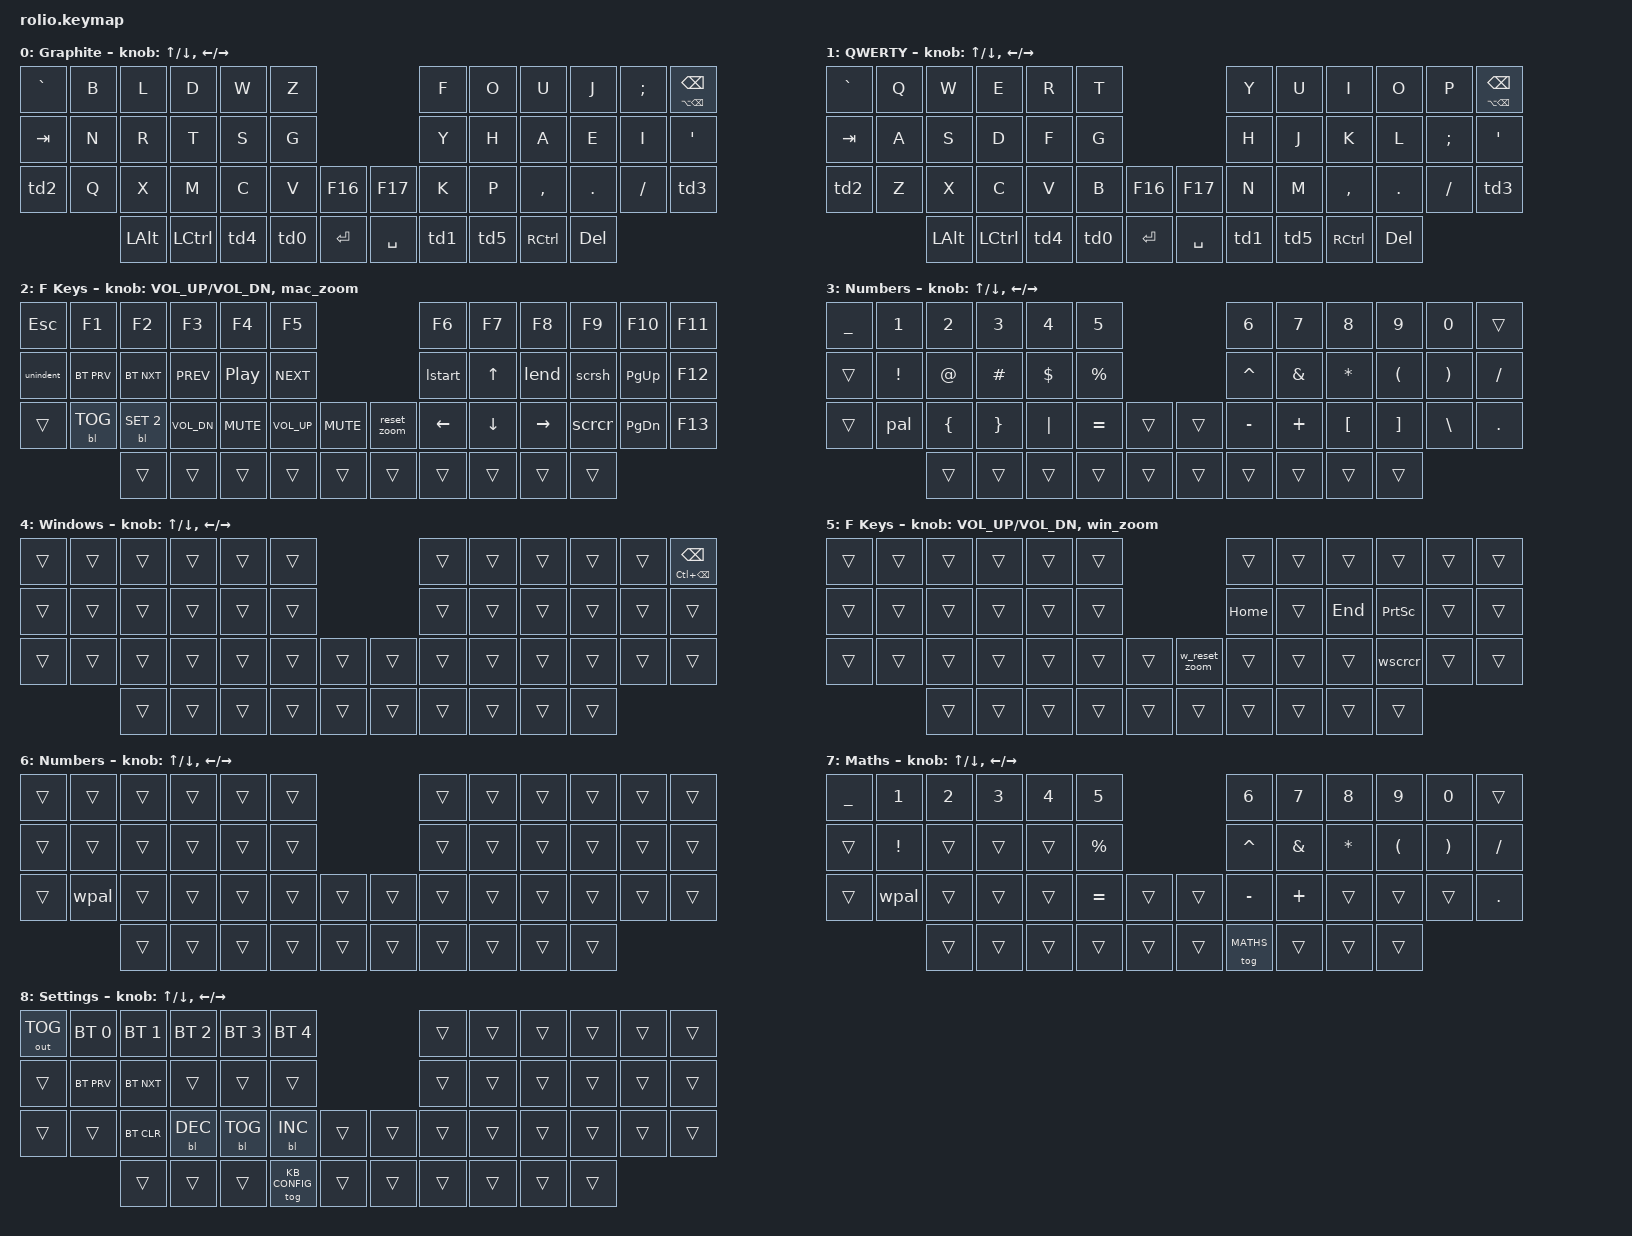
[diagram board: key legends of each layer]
/*
 * Copyright (c) 2020 The ZMK Contributors
 *
 * SPDX-License-Identifier: MIT
 */

#include <behaviors.dtsi>
#include <dt-bindings/zmk/keys.h>
#include <dt-bindings/zmk/bt.h>
#include <dt-bindings/zmk/outputs.h>
#include <dt-bindings/zmk/backlight.h>


#define GRAPHITE  0
#define MACOS     1
#define FKEYS     2
#define NUMBERS   3
#define WINDOWS   4
#define W_FKEYS   5
#define W_NUMBERS 6
#define MATHS     7
#define KB_CONFIG 8


/ {

    conditional_layers {
        compatible = "zmk,conditional-layers";
        win_fkeys {
            if-layers = <WINDOWS FKEYS>;
            then-layer = <W_FKEYS>;
        };
        win_numbers {
            if-layers = <WINDOWS NUMBERS>;
            then-layer = <W_NUMBERS>;
        };
    };


    behaviors {
        // Toggle F-Keys Layer
        td0: tap_dance_0 {
            compatible = "zmk,behavior-tap-dance";
            label = "TAP_DANCE_0";
            #binding-cells = <0>;
            tapping-term-ms = <300>;
            bindings = <&mo FKEYS>, <&tog FKEYS>, <&tog KB_CONFIG>;
        };
        // Toggle Numbers layer
        td1: tap_dance_1 {
            compatible = "zmk,behavior-tap-dance";
            label = "TAP_DANCE_1";
            #binding-cells = <0>;
            tapping-term-ms = <300>;
            bindings = <&mo NUMBERS>, <&tog MATHS>, <&tog NUMBERS>;
        };
        // Toggle capsword left
        td2: tap_dance_2 {
            compatible = "zmk,behavior-tap-dance";
            label = "TAP_DANCE_2";
            #binding-cells = <0>;
            tapping-term-ms = <200>;
            bindings = <&kp LSHFT>, <&caps_word>;
        };
        // Toggle capsword right
        td3: tap_dance_3 {
            compatible = "zmk,behavior-tap-dance";
            label = "TAP_DANCE_3";
            #binding-cells = <0>;
            tapping-term-ms = <200>;
            bindings = <&kp RSHFT>, <&caps_word>;
        };
        // Toggle Windows/QWERTY layer left
        td4: tap_dance_4 {
            compatible = "zmk,behavior-tap-dance";
            label = "TAP_DANCE_4";
            #binding-cells = <0>;
            tapping-term-ms = <200>;
            bindings = <&kp LGUI>, <&tog WINDOWS>, <&tog MACOS>;
        };
        // Toggle Windows/QWERTY layer right
        td5: tap_dance_5 {
            compatible = "zmk,behavior-tap-dance";
            label = "TAP_DANCE_5";
            #binding-cells = <0>;
            tapping-term-ms = <200>;
            bindings = <&kp RGUI>, <&tog WINDOWS>, <&tog MACOS>;
        };
        // Tap = char delete, Hold = word delete (OS auto-repeats)
        // require-prior-idle-ms: if typing recently, always taps instantly
        // quick-tap-ms: rapid backspace mashing always deletes chars
        backspace_word: backspace_word {
            compatible = "zmk,behavior-hold-tap";
            label = "BACKSPACE_WORD";
            #binding-cells = <2>;
            tapping-term-ms = <280>;
            quick-tap-ms = <175>;
            require-prior-idle-ms = <150>;
            flavor = "tap-preferred";
            bindings = <&kp>, <&kp>;
        };
        //Mac OS Zoom
        mac_zoom: mac_zoom {
            compatible = "zmk,behavior-sensor-rotate";
            label = "MAC_ZOOM";
            #sensor-binding-cells = <0>;
            bindings = <&zoom_in>, <&zoom_out>;
        };
        //Windows OS Zoom
        win_zoom: win_zoom {
            compatible = "zmk,behavior-sensor-rotate";
            label = "WINDOWS_ZOOM";
            #sensor-binding-cells = <0>;
            bindings = <&w_zoom_in>, <&w_zoom_out>;
        };
    };


    macros {
        unindent: unindent {
            label = "UNINDENT";
            compatible = "zmk,behavior-macro";
            #binding-cells = <0>;
            bindings
                = <&macro_press &kp LSHIFT>
                , <&macro_tap &kp TAB>
                , <&macro_release &kp LSHIFT>
                ;
        };
        lstart: lstart {
            label = "Line_Start";
            compatible = "zmk,behavior-macro";
            #binding-cells = <0>;
            bindings
                = <&macro_press &kp LGUI>
                , <&macro_tap &kp LEFT>
                , <&macro_release &kp LGUI>
                ;
        };
        lend: lend {
            label = "Line_End";
            compatible = "zmk,behavior-macro";
            #binding-cells = <0>;
            bindings
                = <&macro_press &kp LGUI>
                , <&macro_tap &kp RIGHT>
                , <&macro_release &kp LGUI>
                ;
        };
        scrsh: scrsh {
            label = "Screenshot";
            compatible = "zmk,behavior-macro";
            #binding-cells = <0>;
            bindings
                = <&macro_press &kp LGUI>
                , <&macro_press &kp LSHIFT>
                , <&macro_tap &kp N3>
                , <&macro_release &kp LSHFT>
                , <&macro_release &kp LGUI>
                ;
        };
        scrcr: scrcr {
            label = "Screen_Crop";
            compatible = "zmk,behavior-macro";
            #binding-cells = <0>;
            bindings
                = <&macro_press &kp LGUI>
                , <&macro_press &kp LSHIFT>
                , <&macro_tap &kp N4>
                , <&macro_release &kp LSHFT>
                , <&macro_release &kp LGUI>
                ;
        };
        wscrcr: wscrcr {
            label = "Windows_Screen_Crop";
            compatible = "zmk,behavior-macro";
            #binding-cells = <0>;
            bindings
                = <&macro_press &kp LGUI>
                , <&macro_press &kp LSHIFT>
                , <&macro_tap &kp S>
                , <&macro_release &kp LSHFT>
                , <&macro_release &kp LGUI>
                ;
        };
        pal: pal {
            label = "Pallette";
            compatible = "zmk,behavior-macro";
            #binding-cells = <0>;
            bindings
                = <&macro_press &kp LGUI>
                , <&macro_press &kp LCTRL>
                , <&macro_tap &kp SPACE>
                , <&macro_release &kp LCTRL>
                , <&macro_release &kp LGUI>
                ;
        };
        wpal: wpal {
            label = "W_Pallette";
            compatible = "zmk,behavior-macro";
            #binding-cells = <0>;
            bindings
                = <&macro_press &kp LGUI>
                , <&macro_tap &kp DOT>
                , <&macro_release &kp LGUI>
                ;
        };

        // Zoom macros
        zoom_in: zoom_in {
            label = "ZOOM_IN";
            compatible = "zmk,behavior-macro";
            #binding-cells = <0>;
            bindings
                = <&macro_press &kp LGUI>
                , <&macro_tap &kp EQUAL>
                , <&macro_release &kp LGUI>
                ;
        };
        zoom_out: zoom_out {
            label = "ZOOM_OUT";
            compatible = "zmk,behavior-macro";
            #binding-cells = <0>;
            bindings
                = <&macro_press &kp LGUI>
                , <&macro_tap &kp MINUS>
                , <&macro_release &kp LGUI>
                ;
        };
        reset_zoom: reset_zoom {
            label = "RESET_ZOOM";
            compatible = "zmk,behavior-macro";
            #binding-cells = <0>;
            bindings
                = <&macro_press &kp LGUI>
                , <&macro_tap &kp N0>
                , <&macro_release &kp LGUI>
                ;
        };
        w_zoom_in: w_zoom_in {
            label = "WINDOWS_ZOOM_IN";
            compatible = "zmk,behavior-macro";
            #binding-cells = <0>;
            bindings
                = <&macro_press &kp LCTRL>
                , <&macro_tap &kp EQUAL>
                , <&macro_release &kp LCTRL>
                ;
        };
        w_zoom_out: w_zoom_out {
            label = "WINDOWS_ZOOM_OUT";
            compatible = "zmk,behavior-macro";
            #binding-cells = <0>;
            bindings
                = <&macro_press &kp LCTRL>
                , <&macro_tap &kp MINUS>
                , <&macro_release &kp LCTRL>
                ;
        };
        w_reset_zoom: w_reset_zoom {
            label = "WINDOWS_RESET_ZOOM";
            compatible = "zmk,behavior-macro";
            #binding-cells = <0>;
            bindings
                = <&macro_press &kp LCTRL>
                , <&macro_tap &kp N0>
                , <&macro_release &kp LCTRL>
                ;
        };

    };


    keymap {
        compatible = "zmk,keymap";

        default_layer {
            label = "Graphite";
            sensor-bindings = <&inc_dec_kp UP DOWN &inc_dec_kp LEFT RIGHT>;
            bindings = <
//---------------------------------------------------------------+                            +---------------------------------------------------------------//
//          |         |          |           |          |        |                            |       |       |           |         |          |           // 
  &kp GRAVE   &kp B     &kp L      &kp D        &kp W     &kp Z                                 &kp F   &kp O     &kp U      &kp J   &kp SEMI   &backspace_word LA(BSPC) BSPC
//          |         |          |           |          |        |                            |       |       |           |         |          |           //
  &kp TAB     &kp N     &kp R      &kp T        &kp S     &kp G                                 &kp Y   &kp H     &kp A      &kp E     &kp I     &kp SQT
//          |         |          |           |          |        +-----------+    +-----------|       |       |           |         |          |           //
    &td2      &kp Q     &kp X      &kp M        &kp C     &kp V     &kp F16          &kp F17    &kp K   &kp P   &kp COMMA   &kp DOT   &kp FSLH     &td3
//--------------------|          |           |          |        |           |    |           |       |       |           |--------------------------------//  
                        &kp LALT   &kp LCTRL     &td4     &td0     &kp ENTER        &kp SPACE   &td1    &td5    &kp RCTRL   &kp DEL
//                    +----------|-----------|----------|--------------------+    +-----------|-------|--------|-----------|---------+                      //
            >;
        };

        qwerty_layer {
            label = "QWERTY";
            sensor-bindings = <&inc_dec_kp UP DOWN &inc_dec_kp LEFT RIGHT>;
            bindings = <
//---------------------------------------------------------------+                            +---------------------------------------------------------------//
//          |         |          |           |          |        |                            |       |       |           |         |          |           // 
  &kp GRAVE   &kp Q     &kp W      &kp E        &kp R     &kp T                                 &kp Y   &kp U     &kp I      &kp O     &kp P     &backspace_word LA(BSPC) BSPC
//          |         |          |           |          |        |                            |       |       |           |         |          |           //
  &kp TAB     &kp A     &kp S      &kp D        &kp F     &kp G                                 &kp H   &kp J     &kp K      &kp L    &kp SEMI    &kp SQT
//          |         |          |           |          |        +-----------+    +-----------|       |       |           |         |          |           //
    &td2      &kp Z     &kp X      &kp C        &kp V     &kp B     &kp F16          &kp F17    &kp N   &kp M   &kp COMMA   &kp DOT    &kp FSLH     &td3
//--------------------|          |           |          |        |           |    |           |       |       |           |--------------------------------//  
                        &kp LALT   &kp LCTRL     &td4     &td0     &kp ENTER        &kp SPACE   &td1    &td5    &kp RCTRL   &kp DEL
//                    +----------|-----------|----------|--------------------+    +-----------|-------|--------|-----------|---------+                      //
            >;
        };

        f_keys_layer {
            label = "F Keys";
            sensor-bindings = <&inc_dec_kp C_VOL_UP C_VOL_DN &mac_zoom>;
            bindings = <
//-------------------------------------------------------------------------------+                           +-------------------------------------------------------------------//
//          |            |            |              |            |              |                           |          |          |           |         |           |           // 
  &kp ESCAPE    &kp F1      &kp F2       &kp F3          &kp F4        &kp F5                                   &kp F6    &kp F7      &kp F8     &kp F9    &kp F10     &kp F11
//          |            |            |              |            |              |                           |          |          |           |         |           |           // 
  &unindent   &bt BT_PRV   &bt BT_NXT   &kp C_PREV     &kp C_PP     &kp C_NEXT                                 &lstart     &kp UP     &lend      &scrsh    &kp PG_UP   &kp F12
//          |            |            |              |            |              +-------------+    +--------+          |          |           |         |           |           // 
    &trans    &bl BL_TOG  &bl BL_SET 2  &kp C_VOL_DN   &kp C_MUTE   &kp C_VOL_UP    &kp C_MUTE     &reset_zoom &kp LEFT   &kp DOWN   &kp RIGHT   &scrcr    &kp PG_DN   &kp F13
//-----------------------|            |              |            |              |             |    |        |          |          |           |         |-----------------------//  
                            &trans         &trans       &trans        &trans        &trans            &trans    &trans    &trans      &trans     &trans
//                       +------------|--------------|------------|--------------|-------------+    +--------|----------|----------|-----------|---------+                       //
            >;

        };

        numbers_layer {
            label = "Numbers";
            sensor-bindings = <&inc_dec_kp UP DOWN &inc_dec_kp LEFT RIGHT>;
            bindings = <
//-------------------------------------------------------------------------------+                      +----------------------------------------------------------------------------//
//          |          |                |                 |          |           |                      |           |               |          |          |               |          // 
  &kp UNDER    &kp N1        &kp N2           &kp N3         &kp N4     &kp N5                             &kp N6        &kp N7        &kp N8     &kp N9       &kp N0        &trans
//          |          |                |                 |          |           |                      |           |               |          |          |               |          // 
    &trans    &kp EXCL       &kp AT          &kp HASH       &kp DLLR   &kp PRCNT                          &kp CARET   &kp AMPERSAND   &kp STAR   &kp LPAR     &kp RPAR      &kp FSLH
//          |          |                |                 |          |           +--------+     +-------|           |               |                     |               |          // 
   &trans       &pal     &kp LEFT_BRACE   &kp RIGHT_BRACE   &kp PIPE   &kp EQUAL   &trans        &trans   &kp MINUS     &kp PLUS      &kp LBKT   &kp RBKT   &kp BACKSLASH   &kp DOT
//---------------------|                |                 |          |           |        |    |                    |               |          |          |--------------------------//
                            &trans            &trans         &trans     &trans     &trans        &trans    &trans       &trans         &trans     &trans
//                     +----------------|-----------------|----------|-----------|--------+    +--------|----------|----------------|----------|----------+                          //
            >;
        };

        windows_default_layer {
            label = "Windows";
            sensor-bindings = <&inc_dec_kp UP DOWN &inc_dec_kp LEFT RIGHT>;
            bindings = <
//-----------------------------------------------------------------+                        +------------------------------------------------------------------//
//          |          |          |          |          |          |                        |          |          |          |          |          |           // 
    &trans     &trans     &trans     &trans     &trans     &trans                              &trans     &trans     &trans     &trans     &trans     &backspace_word LC(BSPC) BSPC
//          |          |          |          |          |          |                        |          |          |          |          |          |           //
    &trans     &trans     &trans     &trans     &trans     &trans                              &trans     &trans     &trans     &trans     &trans     &trans
//          |          |          |          |          |          +--------+     +---------|          |          |          |          |          |           // 
    &trans     &trans     &trans     &trans     &trans     &trans    &trans         &trans     &trans     &trans     &trans     &trans     &trans     &trans
//---------------------|          |          |          |          |        |     |         |          |          |          |          |----------------------//
                          &trans     &trans     &trans     &trans    &trans         &trans     &trans     &trans     &trans     &trans
//                     +----------|----------|----------|----------|--------+     +----------|---------|----------|----------|----------+                      //
            >;
        };

        windows_fkeys_layer {
            label = "F Keys";
            sensor-bindings = <&inc_dec_kp C_VOL_UP C_VOL_DN &win_zoom>;
            bindings = <
//-----------------------------------------------------------------+                        +------------------------------------------------------------------//
//          |          |          |          |          |          |                        |          |          |          |          |          |           // 
    &trans     &trans     &trans     &trans     &trans     &trans                              &trans     &trans     &trans     &trans     &trans     &trans
//          |          |          |          |          |          |                        |          |          |          |          |          |           //
    &trans     &trans     &trans     &trans     &trans     &trans                             &kp HOME    &trans     &kp END  &kp PSCRN    &trans     &trans
//          |          |          |          |          |          +--------+     +---------|          |          |          |          |          |           // 
    &trans     &trans     &trans     &trans     &trans     &trans    &trans      &w_reset_zoom &trans     &trans     &trans     &wscrcr    &trans     &trans
//---------------------|          |          |          |          |        |     |         |          |          |          |          |----------------------//
                          &trans     &trans     &trans     &trans    &trans         &trans     &trans     &trans     &trans     &trans
//                     +----------|----------|----------|----------|--------+     +----------|---------|----------|----------|----------+                      //
            >;
        };

        windows_numbers_layer {
            label = "Numbers";
            sensor-bindings = <&inc_dec_kp UP DOWN &inc_dec_kp LEFT RIGHT>;
            bindings = <
//-----------------------------------------------------------------+                        +------------------------------------------------------------------//
//          |          |          |          |          |          |                        |          |          |          |          |          |           // 
    &trans     &trans     &trans     &trans     &trans     &trans                              &trans     &trans     &trans     &trans     &trans     &trans
//          |          |          |          |          |          |                        |          |          |          |          |          |           //
    &trans     &trans     &trans     &trans     &trans     &trans                              &trans     &trans     &trans     &trans     &trans     &trans
//          |          |          |          |          |          +--------+     +---------|          |          |          |          |          |           // 
    &trans     &wpal      &trans     &trans     &trans     &trans    &trans         &trans     &trans     &trans     &trans     &trans     &trans     &trans
//---------------------|          |          |          |          |        |     |         |          |          |          |          |----------------------//
                          &trans     &trans     &trans     &trans    &trans         &trans     &trans     &trans     &trans     &trans
//                     +----------|----------|----------|----------|--------+     +---------|----------|----------|----------|----------+                      //
            >;
        };

        maths_layer {
            label = "Maths";
            sensor-bindings = <&inc_dec_kp UP DOWN &inc_dec_kp LEFT RIGHT>;
            bindings = <
//-----------------------------------------------------------------+                        +----------------------------------------------------------------------------//
//          |          |          |          |          |          |                        |           |               |          |          |               |          // 
  &kp UNDER    &kp N1     &kp N2     &kp N3     &kp N4     &kp N5                              &kp N6        &kp N7        &kp N8     &kp N9       &kp N0        &trans
//          |          |          |          |          |          |                        |           |               |          |          |               |          // 
    &trans    &kp EXCL    &trans     &trans     &trans   &kp PRCNT                            &kp CARET   &kp AMPERSAND   &kp STAR   &kp LPAR     &kp RPAR      &kp FSLH
//          |          |          |          |          |          +--------+     +---------|           |               |          |          |               |          // 
    &trans     &wpal      &trans     &trans     &trans   &kp EQUAL   &trans         &trans    &kp MINUS      &kp PLUS      &trans     &trans       &trans       &kp DOT
//---------------------|          |          |          |          |        |     |         |           |               |          |          |--------------------------//
                          &trans     &trans     &trans     &trans    &trans         &trans   &tog MATHS        &trans       &trans     &trans
//                     +----------|----------|----------|----------|--------+     +---------|-----------|---------------|----------|----------+                          //
            >;
      };

        settings_layer {
            label = "Settings";
            sensor-bindings = <&inc_dec_kp UP DOWN &inc_dec_kp LEFT RIGHT>;
            bindings = <
//---------------------------------------------------------------------------------------+                        +------------------------------------------------------------------//
//          |              |              |              |              |                |                        |          |          |          |          |          |           // 
 &out OUT_TOG &bt BT_SEL 0   &bt BT_SEL 1   &bt BT_SEL 2   &bt BT_SEL 3    &bt BT_SEL 4                              &trans     &trans     &trans     &trans     &trans     &trans
//          |              |              |              |              |                |                        |          |          |          |          |          |           // 
    &trans     &bt BT_PRV     &bt BT_NXT       &trans         &trans         &trans                                  &trans     &trans     &trans     &trans     &trans     &trans
//          |              |              |              |              |                +--------+     +---------|          |          |          |          |          |           // 
    &trans       &trans       &bt BT_CLR     &bl BL_DEC    &bl BL_TOG      &bl BL_INC      &trans         &trans     &trans     &trans     &trans     &trans     &trans     &trans
//-------------------------|              |              |              |                |        |     |         |          |          |          |          |----------------------//
                               &trans          &trans         &trans      &tog KB_CONFIG   &trans         &trans     &trans     &trans     &trans     &trans
//                         +--------------|--------------|--------------|----------------|--------+     +----------|---------|----------|----------|----------+                      //
            >;
        };

    };
};
